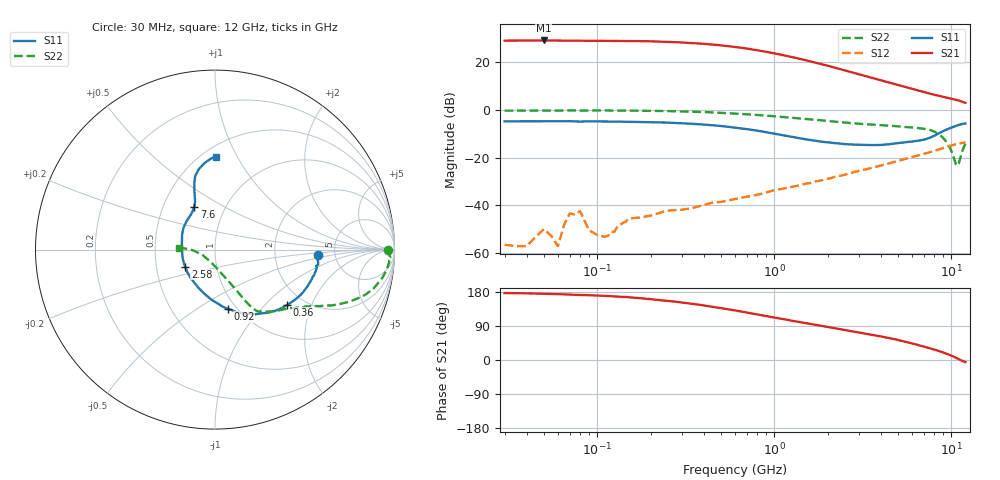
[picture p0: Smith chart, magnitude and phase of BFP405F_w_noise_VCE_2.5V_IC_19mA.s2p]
! Infineon Technologies  Discrete & RF Semiconductors
! BFP405F
! VCE =  2.5 V,  IC =  19 mA
! Common Emitter S-Parameters:  Nov 2015
# GHz  S  MA  R  50
!  f  S11  S21  S12  S22
! GHz  MAG  ANG  MAG  ANG  MAG  ANG  MAG  ANG
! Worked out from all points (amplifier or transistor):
!   239 points, 30 MHz to 12 GHz, reference 50 ohm
!   highest |S21| = 29.1 dB at 50 MHz (marker M1)
!   |S21| within 3 dB of that: start of sweep to 640.8 MHz
!   unconditionally stable (mu >= 1): 1.712 GHz to end of sweep
!   at 300 MHz: K = 0.32, MSG = 35.0 dB, |S12| = -41.8 dB
!   at 1.88 GHz: K = 1.06, MAG = 22.7 dB, |S12| = -29.3 dB
!   at 12 GHz: K = 1.38, MAG = 4.6 dB, |S12| = -13.6 dB
!   lowest NFmin = 2.19 dB at 450 MHz
!   S11 on the Smith chart (normalised r, x): 30 MHz: 3.69, -0.35; 360 MHz: 1.64, -1.36; 920 MHz: 0.91, -0.68; 2.58 GHz: 0.70, -0.14; 7.6 GHz: 0.71, +0.36; 12 GHz: 0.58, +0.83
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0.03  0.577 -3.1  28.29 176.6  0.0015 119.3  0.9636 -0.2
0.05  0.5741 -5.9  28.51 174.6  0.0032 57.1  0.9741 -1.1
0.06  0.5781 -6.6  28.27 173.8  0.0014 61.7  0.9687 -1.5
0.07  0.5807 -8.2  28.25 172.5  0.0068 108.4  0.9783 -2.5
0.085  0.5734 -9.6  28.14 171.4  0.0047 68.6  0.9721 -3.1
0.11  0.5728 -12.3  27.97 169.2  0.0022 109.7  0.9725 -3.9
0.15  0.5644 -16.7  27.8 165.7  0.0052 75.7  0.9665 -5.7
0.2  0.5535 -22.1  27.38 160.5  0.0061 85.6  0.9562 -7.8
0.24  0.5445 -26.1  26.73 157.1  0.0075 82.7  0.9476 -9.2
0.3  0.5261 -32.0  25.91 151.8  0.0081 76.7  0.9306 -11.3
0.36  0.5066 -37.5  24.89 147.0  0.0092 74.7  0.9144 -13.2
0.46  0.4745 -46.4  23.22 139.6  0.0116 74.7  0.8826 -16.0
0.6  0.4262 -57.5  20.83 130.6  0.0136 72.9  0.8386 -19.0
0.7  0.3958 -64.3  19.3 125.2  0.0152 72.8  0.8103 -20.7
0.92  0.3371 -77.9  16.27 115.2  0.019 71.3  0.7549 -23.7
1.3  0.2667 -98.2  12.46 102.4  0.025 69.8  0.6797 -27.4
1.64  0.2308 -114.0  10.16 94.4  0.0305 70.7  0.6303 -30.0
2.58  0.1909 -150.3  6.532 78.3  0.0459 68.5  0.5385 -37.3
4.5  0.1923 163.5  3.687 57.4  0.0772 63.0  0.4671 -47.6
7.6  0.2637 116.1  2.183 30.7  0.1309 50.3  0.3772 -57.6
10.8  0.4733 98.7  1.607 4.2  0.1942 31.5  0.068 -132.3
12  0.5187 89.1  1.403 -5.6  0.2094 24.6  0.1981 176.9
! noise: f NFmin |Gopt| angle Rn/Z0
0.45  2.19  0.03  -9  0.5
0.9  2.21  0.01  -43  0.33
1.5  2.26  0.02  -82  0.27
1.9  2.32  0.03  -109  0.39
2.4  2.46  0.03  -113  0.24
3  2.56  0.05  -115  0.11
3.5  2.63  0.07  -116  0.14
4.5  2.86  0.13  -104  0.46
5.5  3.17  0.23  -88  0.49
